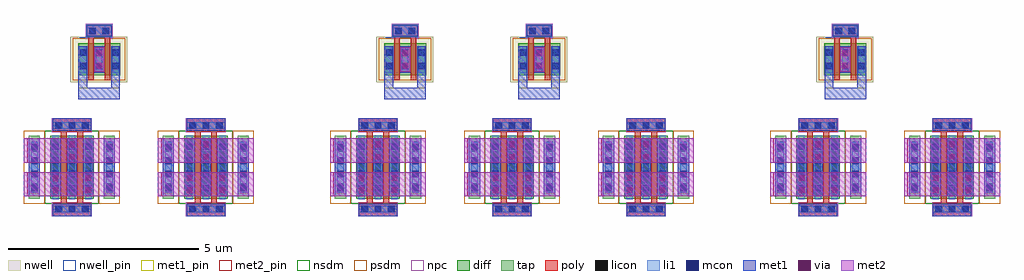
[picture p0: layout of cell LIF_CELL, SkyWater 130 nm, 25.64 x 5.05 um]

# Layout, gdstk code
import gdstk
lib = gdstk.Library(unit=1e-6, precision=1e-09)
def R(c, l, rs):  # rectangles x0, y0, x1, y1
    for r in rs: c.add(gdstk.rectangle(r[:2], r[2:], *l))
def A(c, l, x, y, w, h, nx, ny, dx, dy):  # array of equal rectangles
    R(c, l, [(x+i*dx, y+j*dy, x+i*dx+w, y+j*dy+h) for i in range(nx) for j in range(ny)])
nwell_pin = (64, 16)
nwell = (64, 20)
diff = (65, 20)
tap = (65, 44)
poly = (66, 20)
licon = (66, 44)
li1 = (67, 20)
mcon = (67, 44)
met1_pin = (68, 16)
met1 = (68, 20)
via = (68, 44)
met2_pin = (69, 16)
met2 = (69, 20)
nsdm = (93, 44)
psdm = (94, 20)
npc = (95, 20)

nfet_device = lib.new_cell('NFET_DEVICE')
R(nfet_device, diff, [(0.74,0.51,1.88,2.16)])
R(nfet_device, tap, [(0.18,0.51,0.47,2.16), (2.15,0.51,2.44,2.16)])
R(nfet_device, poly, [(0.805,0.05,1.815,0.4), (1.02,0.4,1.17,2.27), (1.45,0.4,1.6,2.27), (0.805,2.27,1.815,2.62)])
A(nfet_device, licon, 0.885, 0.15, 0.17, 0.17, 3, 2, 0.34, 2.2)
A(nfet_device, licon, 0.795, 0.57, 0.17, 0.17, 3, 5, 0.43, 0.34)
A(nfet_device, licon, 0.24, 0.74, 0.17, 0.17, 1, 4, 0, 0.34)
A(nfet_device, licon, 2.21, 0.74, 0.17, 0.17, 1, 4, 0, 0.34)
A(nfet_device, li1, 0.795, 0.49, 0.17, 1.69, 3, 1, 0.43, 0)
R(nfet_device, li1, [(0.805,0.15,1.815,0.32), (0.865,0.15,1.755,0.32), (0.24,0.66,0.41,2.01), (2.21,0.66,2.38,2.01), (0.805,2.35,1.815,2.52), (0.865,2.35,1.755,2.52)])
A(nfet_device, mcon, 0.865, 0.15, 0.17, 0.17, 3, 2, 0.36, 2.2)
A(nfet_device, mcon, 0.24, 0.71, 0.17, 0.17, 1, 4, 0, 0.36)
A(nfet_device, mcon, 0.795, 0.71, 0.17, 0.17, 3, 4, 0.43, 0.36)
A(nfet_device, mcon, 2.21, 0.71, 0.17, 0.17, 1, 4, 0, 0.36)
R(nfet_device, met1_pin, [(0.805,0.05,1.815,0.38), (0.18,0.57,0.47,0.65), (2.15,0.57,2.44,0.65), (0.805,2.29,1.815,2.62)])
A(nfet_device, met1, 0.75, 0.57, 0.26, 1.53, 3, 1, 0.43, 0)
R(nfet_device, met1, [(0.805,0.05,1.815,0.38), (0.18,0.57,0.47,2.1), (2.15,0.57,2.44,2.1), (0.805,2.29,1.815,2.62)])
R(nfet_device, via, [(0.805,0.655,0.955,0.805), (1.665,0.655,1.815,0.805), (0.805,0.975,0.955,1.125), (1.665,0.975,1.815,1.125), (1.235,1.545,1.385,1.695), (1.235,1.865,1.385,2.015)])
R(nfet_device, met2_pin, [(0.05,0.57,0.15,1.21), (0.05,1.46,0.15,2.1)])
R(nfet_device, met2, [(0.05,0.57,2.57,1.21), (0.05,1.46,2.57,2.1)])
R(nfet_device, nsdm, [(0.6,0.38,2.02,2.29)])
R(nfet_device, psdm, [(0.05,0.38,0.6,2.29), (2.02,0.38,2.57,2.29)])
R(nfet_device, npc, [(0.785,0.05,1.835,0.42), (0.785,2.25,1.835,2.62)])
nfet_device.add(gdstk.Label('model_use_only', (1.095,1.335), layer=66, texttype=83))
nfet_device.add(gdstk.Label('model_use_only', (1.525,1.335), layer=66, texttype=83))
nfet_device.add(gdstk.Label('DRAIN', (0.15,1.78), layer=69, texttype=5))
nfet_device.add(gdstk.Label('SOURCE', (0.15,0.89), layer=69, texttype=5))
nfet_device.add(gdstk.Label('GATE', (1.31,2.435), layer=68, texttype=5))
nfet_device.add(gdstk.Label('SUBSTRATE', (0.32,0.65), layer=68, texttype=5))
nfet_device.add(gdstk.Label('GATE', (1.31,0.235), layer=68, texttype=5))
nfet_device.add(gdstk.Label('SUBSTRATE', (2.29,0.65), layer=68, texttype=5))

pfet_device = lib.new_cell('PFET_DEVICE')
R(pfet_device, nwell_pin, [(0.255,1.16,0.475,1.185)])
R(pfet_device, nwell, [(0,0,1.5,1.2)])
R(pfet_device, diff, [(0.21,0.18,0.475,1.02), (0.24,0.18,0.475,1.02), (0.475,0.18,0.625,1.02), (0.625,0.18,0.905,1.02), (0.905,0.18,1.055,1.02), (1.055,0.18,1.32,1.02), (1.055,0.18,1.32,1.02)])
R(pfet_device, poly, [(0.475,0.05,0.625,0.18), (0.475,0.05,0.625,1.15), (0.905,0.05,1.055,0.18), (0.905,0.05,1.055,1.15), (0.475,1.02,0.625,1.15), (0.905,1.02,1.055,1.15), (0.475,1.15,1.055,1.515), (0.43,1.175,1.1,1.515)])
A(pfet_device, licon, 0.25, 0.335, 0.17, 0.17, 3, 2, 0.43, 0.36)
R(pfet_device, licon, [(0.51,1.265,0.68,1.435), (0.85,1.265,1.02,1.435)])
A(pfet_device, li1, 0.25, 0.255, 0.17, 0.69, 3, 1, 0.43, 0)
R(pfet_device, li1, [(0.43,1.175,1.1,1.515), (0.5,1.265,1.03,1.435)])
A(pfet_device, mcon, 0.25, 0.335, 0.17, 0.17, 3, 2, 0.43, 0.36)
R(pfet_device, mcon, [(0.5,1.265,0.67,1.435), (0.86,1.265,1.03,1.435)])
R(pfet_device, met1_pin, [(0.22,-0.445,1.31,-0.145), (0.44,1.205,1.09,1.495)])
R(pfet_device, met1, [(0.635,0.275,0.895,0.925), (0.44,1.205,1.09,1.495)])
R(pfet_device, via, [(0.69,0.365,0.84,0.515), (0.69,0.685,0.84,0.835)])
R(pfet_device, met2_pin, [(0.635,0.28,0.895,0.92)])
R(pfet_device, met2, [(0.635,0.28,0.895,0.92)])
R(pfet_device, psdm, [(0.075,0.05,0.605,1.15), (0.24,0.05,0.625,1.15), (0.495,0.05,1.035,1.15), (0.655,0.05,1.055,1.15), (0.925,0.05,1.455,1.15)])
R(pfet_device, npc, [(0.41,1.155,1.12,1.535)])
pfet_device.add(gdstk.FlexPath([(0.335,0.945),(0.335,-0.445)], 0.23, ends="flush", simple_path=True, layer=68, datatype=20))  # met1
pfet_device.add(gdstk.FlexPath([(0.22,-0.295),(1.31,-0.295)], 0.3, ends="flush", simple_path=True, layer=68, datatype=20))  # met1
pfet_device.add(gdstk.FlexPath([(0.765,0.945),(0.765,0.255)], 0.26, ends="flush", simple_path=True, layer=68, datatype=20))  # met1
pfet_device.add(gdstk.FlexPath([(1.195,0.945),(1.195,-0.445)], 0.23, ends="flush", simple_path=True, layer=68, datatype=20))  # met1
pfet_device.add(gdstk.Label('DRAIN', (0.76,0.6), layer=69, texttype=16))
pfet_device.add(gdstk.Label('SOURCE', (0.76,-0.295), layer=68, texttype=16))
pfet_device.add(gdstk.Label('GATE', (0.785,1.35), layer=68, texttype=16))
pfet_device.add(gdstk.Label('model_use_only', (0.535,0.615), layer=66, texttype=83))
pfet_device.add(gdstk.Label('model_use_only', (0.975,0.615), layer=66, texttype=83))
pfet_device.add(gdstk.Label('BULK', (0.365,1.17), layer=64, texttype=5))

synapse = lib.new_cell('SYNAPSE')
synapse.add(gdstk.Reference(nfet_device, (0,0)))
synapse.add(gdstk.Reference(nfet_device, (3.52,0)))
synapse.add(gdstk.Reference(pfet_device, (1.26,3.57)))

integrator = lib.new_cell('INTEGRATOR')
integrator.add(gdstk.Reference(nfet_device, (0,0)))
integrator.add(gdstk.Reference(nfet_device, (3.52,0)))
integrator.add(gdstk.Reference(nfet_device, (7.04,0)))
integrator.add(gdstk.Reference(pfet_device, (1.26,3.57)))
integrator.add(gdstk.Reference(pfet_device, (4.78,3.57)))

threshold = lib.new_cell('THRESHOLD')
threshold.add(gdstk.Reference(nfet_device, (0,0)))
threshold.add(gdstk.Reference(nfet_device, (3.52,0)))
threshold.add(gdstk.Reference(pfet_device, (1.26,3.57)))

lif_cell = lib.new_cell('LIF_CELL')
lif_cell.add(gdstk.Reference(synapse, (0,0)))
lif_cell.add(gdstk.Reference(integrator, (8.04,0)))
lif_cell.add(gdstk.Reference(threshold, (19.6,0)))

lib.write_gds('LIF_CELL.gds')
